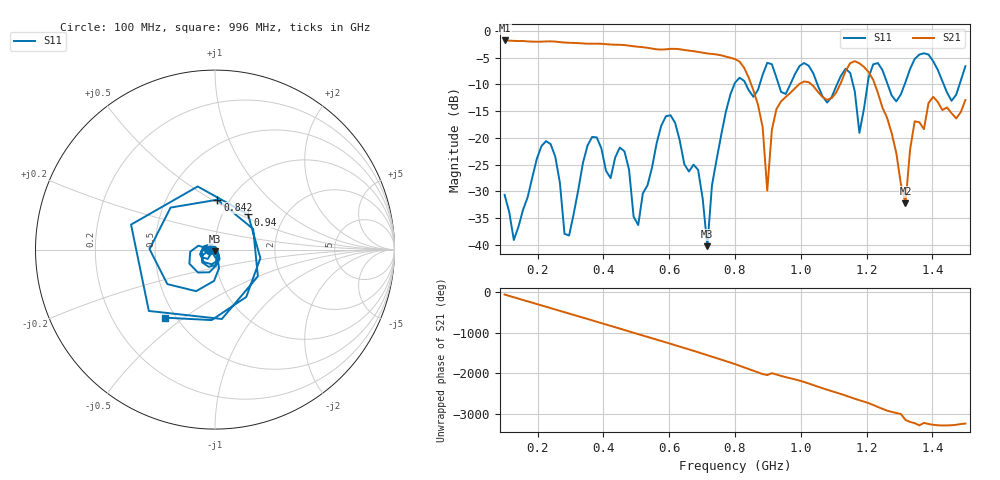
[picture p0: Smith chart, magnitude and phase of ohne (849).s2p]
! NanoVNA-App
! Date: 2025-09-25 14:27:24
! Start: 100MHz Stop: 1,5GHz Points: 101
! S-Parameter data: F S11 S21 S12 S22
# Hz S RI R 50
!  Frequency  S11_Real  S11_Imag  S21_Real  S21_Imag  S12_Real  S12_Imag  S22_Real  S22_Imag
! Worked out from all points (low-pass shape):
!   101 points, 100 MHz to 1.5 GHz, reference 50 ohm
!   highest |S21| = -1.79 dB at 100 MHz (marker M1); lowest = -32.2 dB at 1.318 GHz (marker M2)
!   |S21| within 3 dB of the highest: start of sweep to 771.2 MHz
!   lowest |S11| = -40.2 dB at 716 MHz (marker M3), VSWR 1.02, Z = 49.8 - j0.959 ohm
!   |S11| at or under -10 dB: start of sweep to 798 MHz; 833.2 MHz to 875.1 MHz (41.9 MHz wide, 4.91 % of centre); 1.05 GHz to 1.11 GHz (59.52 MHz wide, 5.51 % of centre) (the widest 3 of 7)
!   S12 and S22 are empty: the file has one direction only
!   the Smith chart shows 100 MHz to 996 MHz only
!   S11 on the Smith chart (normalised r, x): 100 MHz: 0.94, -0.01; 842 MHz: 0.88, +0.53; 940 MHz: 1.32, +0.56; 996 MHz: 0.44, -0.43
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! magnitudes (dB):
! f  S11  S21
! 100 MHz  -30.6  -1.8
! 128 MHz  -39.1  -1.9
! 226 MHz  -20.6  -2.0
! 296 MHz  -38.2  -2.2
! 338 MHz  -24.7  -2.4
! 464 MHz  -22.5  -2.7
! 506 MHz  -36.3  -3.0
! 576 MHz  -17.7  -3.5
! 688 MHz  -26.0  -3.9
! 716 MHz  -40.2  -4.2
! 800 MHz  -9.7  -5.3
! 842 MHz  -11.1  -8.8
! 898 MHz  -6.0  -29.9
! 940 MHz  -11.4  -13.2
! 996 MHz  -6.6  -9.9
! 1.038 GHz  -7.9  -10.3
! 1.178 GHz  -19.1  -6.1
! 1.22 GHz  -6.2  -9.2
! 1.276 GHz  -12.1  -19.1
! 1.318 GHz  -9.6  -32.2
! 1.346 GHz  -5.2  -16.9
! 1.5 GHz  -6.6  -12.9
